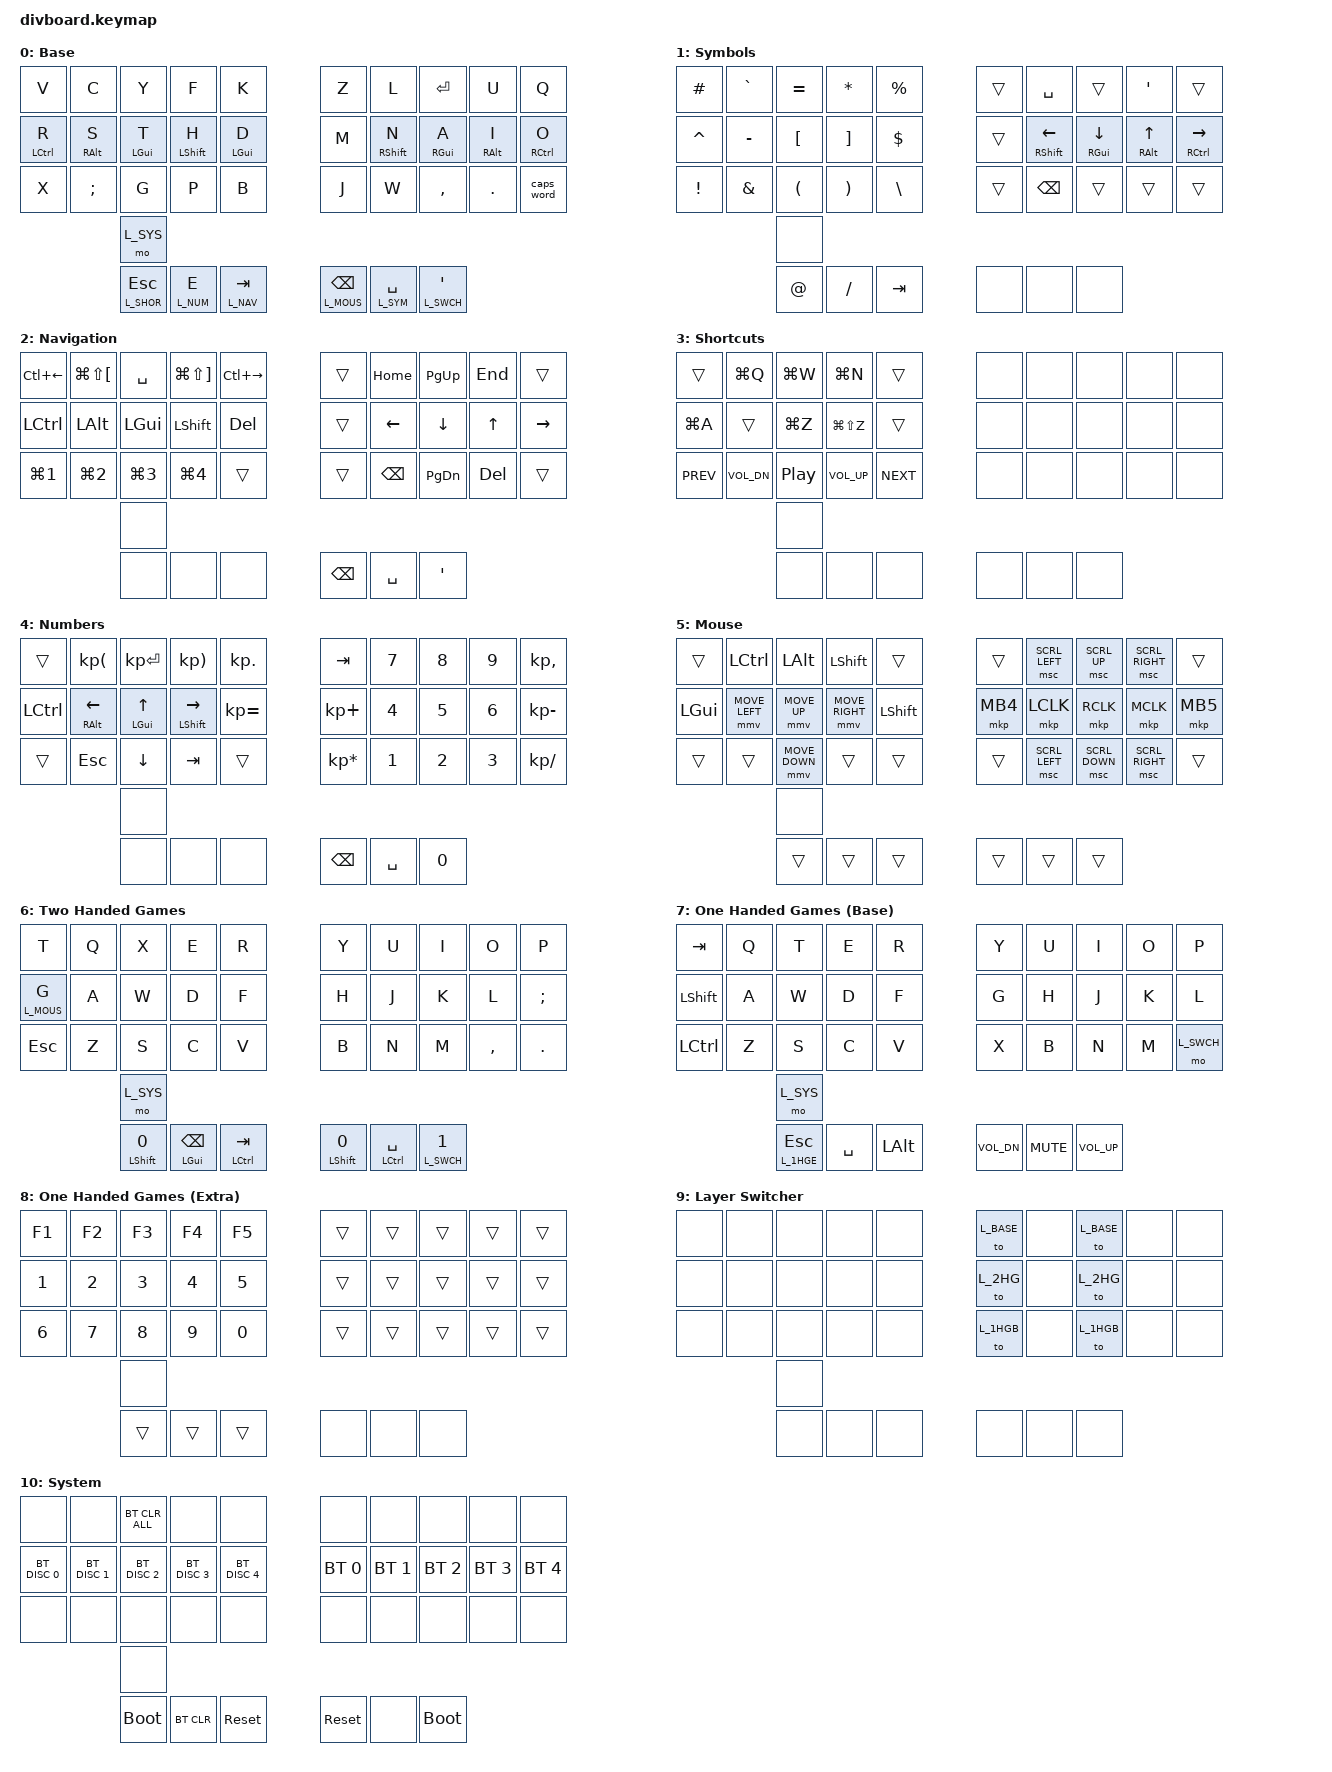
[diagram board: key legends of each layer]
#include <behaviors.dtsi>
#include <dt-bindings/zmk/keys.h>
#include <dt-bindings/zmk/bt.h>
#include <dt-bindings/zmk/outputs.h>
#include <dt-bindings/zmk/pointing.h>

#define L_BASE 0
#define L_SYM 1
#define L_NAV 2
#define L_SHOR 3
#define L_NUM 4
#define L_MOUS 5
#define L_2HG 6
#define L_1HGB 7
#define L_1HGE 8
#define L_SWCH 9
#define L_SYS 10


/ {
    behaviors {
        // Homerow Mods' configuration values correspond to Sunaku's custom preset.
        // Taken from: https://docs.google.com/spreadsheets/d/1ESgObQelyz4lnKlfwLYsmofLJulOMK5RdGBsopLe2o8/edit?gid=447112099#gid=447112099

        hmlp: home_row_mods_left_pinky {
            compatible = "zmk,behavior-hold-tap";
            #binding-cells = <2>;
            bindings = <&kp>, <&kp>;
            hold-trigger-on-release;
            flavor = "tap-preferred";
            tapping-term-ms = <280>;
            quick-tap-ms = <300>;
            require-prior-idle-ms = <150>;
            hold-trigger-key-positions = <
                5  6  7  8  9
                15 16 17 18 19
                25 26 27 28 29

                34 35 36
            >;
        };

        hmrp: home_row_mods_right_pinky {
            compatible = "zmk,behavior-hold-tap";
            #binding-cells = <2>;
            bindings = <&kp>, <&kp>;
            hold-trigger-on-release;
            flavor = "tap-preferred";
            tapping-term-ms = <280>;
            quick-tap-ms = <300>;
            require-prior-idle-ms = <150>;
            hold-trigger-key-positions = <
                0  1  2  3  4
                10 11 12 13 14
                20 21 22 23 24
                      
                      31 32 33
            >;
        };

        hmlr: home_row_mods_left_ring {
            compatible = "zmk,behavior-hold-tap";
            #binding-cells = <2>;
            bindings = <&kp>, <&kp>;
            hold-trigger-on-release;
            flavor = "tap-preferred";
            tapping-term-ms = <240>;
            quick-tap-ms = <300>;
            require-prior-idle-ms = <150>;
            hold-trigger-key-positions = <
                5  6  7  8  9
                15 16 17 18 19
                25 26 27 28 29

                34 35 36
            >;
        };

        hmrr: home_row_mods_right_ring {
            compatible = "zmk,behavior-hold-tap";
            #binding-cells = <2>;
            bindings = <&kp>, <&kp>;
            hold-trigger-on-release;
            flavor = "tap-preferred";
            tapping-term-ms = <240>;
            quick-tap-ms = <300>;
            require-prior-idle-ms = <150>;
            hold-trigger-key-positions = <
                0  1  2  3  4
                10 11 12 13 14
                20 21 22 23 24
                      
                      31 32 33
            >;
        };

        hmlm: home_row_mods_left_middle {
            compatible = "zmk,behavior-hold-tap";
            #binding-cells = <2>;
            bindings = <&kp>, <&kp>;
            hold-trigger-on-release;
            flavor = "tap-preferred";
            tapping-term-ms = <210>;
            quick-tap-ms = <300>;
            require-prior-idle-ms = <150>;
            hold-trigger-key-positions = <
                5  6  7  8  9
                15 16 17 18 19
                25 26 27 28 29

                34 35 36
            >;
        };

        hmrm: home_row_mods_right_middle {
            compatible = "zmk,behavior-hold-tap";
            #binding-cells = <2>;
            bindings = <&kp>, <&kp>;
            hold-trigger-on-release;
            flavor = "tap-preferred";
            tapping-term-ms = <210>;
            quick-tap-ms = <300>;
            require-prior-idle-ms = <150>;
            hold-trigger-key-positions = <
                0  1  2  3  4
                10 11 12 13 14
                20 21 22 23 24
                      
                      31 32 33
            >;
        };

        hmli: home_row_mods_left_index {
            compatible = "zmk,behavior-hold-tap";
            #binding-cells = <2>;
            bindings = <&kp>, <&kp>;
            hold-trigger-on-release;
            flavor = "tap-preferred";
            tapping-term-ms = <190>;
            quick-tap-ms = <300>;
            require-prior-idle-ms = <100>;
            hold-trigger-key-positions = <
                5  6  7  8  9
                15 16 17 18 19
                25 26 27 28 29

                34 35 36
            >;
        };

        hmri: home_row_mods_right_index {
            compatible = "zmk,behavior-hold-tap";
            #binding-cells = <2>;
            bindings = <&kp>, <&kp>;
            hold-trigger-on-release;
            flavor = "tap-preferred";
            tapping-term-ms = <190>;
            quick-tap-ms = <300>;
            require-prior-idle-ms = <100>;
            hold-trigger-key-positions = <
                0  1  2  3  4
                10 11 12 13 14
                20 21 22 23 24
                      
                      31 32 33
            >;
        };

        tl: layer_tap_left_thumb {
            compatible = "zmk,behavior-hold-tap";
            #binding-cells = <2>;
            bindings = <&mo>, <&kp>;
            flavor = "balanced";
            tapping-term-ms = <200>;
            quick-tap-ms = <150>;
            require-prior-idle-ms = <100>;
            retro-tap;
        };

        tr: layer_tap_right_thumb {
            compatible = "zmk,behavior-hold-tap";
            #binding-cells = <2>;
            bindings = <&mo>, <&kp>;
            flavor = "balanced";
            tapping-term-ms = <200>;
            quick-tap-ms = <150>;
            require-prior-idle-ms = <100>;
            retro-tap;
            hold-trigger-key-positions = <
                0  1  2  3  4         
                10 11 12 13 14     15 16 17 18 19
                20 21 22 23 24           
                      
                      31 32 33
            >;
        };
    };

    keymap {
        compatible = "zmk,keymap";

        default_layer {
            display-name = "Base";
            bindings = <
                &kp V            &kp C            &kp Y            &kp F            &kp K                               &kp Z            &kp L            &kp ENTER        &kp U            &kp Q
                &hmlp LCTRL R    &hmlr RALT S     &hmlm LGUI T     &hmli LSHIFT H   &hmli LGUI D                        &kp M            &hmri RSHIFT N   &hmrm RGUI A     &hmrr RALT I     &hmrp RCTRL O
                &kp X            &kp SEMICOLON    &kp G            &kp P            &kp B                               &kp J            &kp W            &kp COMMA        &kp DOT          &caps_word
                                                  &mo L_SYS
                                                  &tl L_SHOR ESC   &tl L_NUM E      &tl L_NAV TAB                       &tr L_MOUS BSPC  &tr L_SYM SPACE  &tr L_SWCH APOSTROPHE
            >;
        };

        symbols_layer {
            display-name = "Symbols";
            bindings = <
                &kp HASH         &kp GRAVE        &kp EQUAL        &kp ASTERISK     &kp PERCENT                         &trans           &kp SPACE        &trans           &kp APOSTROPHE   &trans
                &kp CARET        &kp MINUS        &kp LBKT         &kp RBKT         &kp DOLLAR                          &trans           &hmri RSHFT LEFT &hmrm RGUI DOWN  &hmrr RALT UP    &hmrp RCTRL RIGHT
                &kp EXCLAMATION  &kp AMPERSAND    &kp LPAR         &kp RPAR         &kp BACKSLASH                       &trans           &kp BACKSPACE    &trans           &trans           &trans
                                                  &none
                                                  &kp AT_SIGN      &kp SLASH        &kp TAB                             &none            &none            &none 
            >;
        };

        navigation_layer {
            display-name = "Navigation";
            bindings = <
                &kp LC(LEFT)     &kp LG(LS(LBKT)) &kp SPACE        &kp LG(LS(RBKT)) &kp LC(RIGHT)                       &trans           &kp HOME         &kp PAGE_UP      &kp END          &trans
                &kp LCTRL        &kp LALT         &kp LGUI         &kp LSHIFT       &kp DELETE                          &trans           &kp LEFT         &kp DOWN         &kp UP           &kp RIGHT
                &kp LG(N1)       &kp LG(N2)       &kp LG(N3)       &kp LG(N4)       &trans                              &trans           &kp BACKSPACE    &kp PAGE_DOWN    &kp DELETE       &trans
                                                  &none
                                                  &none            &none            &none                               &kp BACKSPACE    &kp SPACE        &kp APOSTROPHE
            >;
        };

        shortcuts_layer {
            display-name = "Shortcuts";
            bindings = <
                &trans           &kp LG(Q)        &kp LG(W)        &kp LG(N)        &trans                              &none            &none            &none            &none            &none
                &kp LG(A)        &trans           &kp LG(Z)        &kp LG(LS(Z))    &trans                              &none            &none            &none            &none            &none 
                &kp C_PREV       &kp C_VOL_DN     &kp C_PLAY_PAUSE &kp C_VOL_UP     &kp C_NEXT                          &none            &none            &none            &none            &none 
                                                  &none
                                                  &none            &none            &none                               &none            &none            &none
            >;
        };

        numbers_layer {
            display-name = "Numbers";
            bindings = <
                &trans           &kp KP_LPAR      &kp KP_ENTER     &kp KP_RPAR      &kp KP_DOT                          &kp TAB          &kp N7           &kp N8           &kp N9           &kp KP_COMMA
                &kp LCTRL        &mt RALT LEFT    &mt LGUI UP      &mt LSHFT RIGHT  &kp KP_EQUAL                        &kp KP_PLUS      &kp N4           &kp N5           &kp N6           &kp KP_MINUS
                &trans           &kp ESC          &kp DOWN         &kp TAB          &trans                              &kp KP_MULTIPLY  &kp N1           &kp N2           &kp N3           &kp KP_DIVIDE
                                                  &none
                                                  &none            &none            &none                               &kp BACKSPACE    &kp SPACE        &kp N0
            >;
        };

        mouse_layer {
            display-name = "Mouse";
            bindings = <
                &trans           &kp LCTRL        &kp LALT         &kp LSHIFT       &trans                              &trans           &msc SCRL_LEFT   &msc SCRL_UP     &msc SCRL_RIGHT  &trans
                &kp LGUI         &mmv MOVE_LEFT   &mmv MOVE_UP     &mmv MOVE_RIGHT  &kp LSHIFT                          &mkp MB4         &mkp LCLK        &mkp RCLK        &mkp MCLK        &mkp MB5
                &trans           &trans           &mmv MOVE_DOWN   &trans           &trans                              &trans           &msc SCRL_LEFT   &msc SCRL_DOWN   &msc SCRL_RIGHT  &trans
                                                  &none
                                                  &trans           &trans           &trans                              &trans           &trans           &trans
            >;
        };

        two_handed_game_layer {
            display-name = "Two Handed Games";
            bindings = <
                &kp T            &kp Q            &kp X            &kp E            &kp R                               &kp Y            &kp U            &kp I            &kp O            &kp P
                &lt L_MOUS G     &kp A            &kp W            &kp D            &kp F                               &kp H            &kp J            &kp K            &kp L            &kp SEMICOLON
                &kp ESC          &kp Z            &kp S            &kp C            &kp V                               &kp B            &kp N            &kp M            &kp COMMA        &kp DOT
                                                  &mo L_SYS
                                                  &mt LSHIFT N0    &mt LGUI BSPC    &mt LCTRL TAB                       &mt LSHIFT N0    &mt LCTRL SPACE  &lt L_SWCH N1
            >;
        };

        one_handed_game_base_layer {
            display-name = "One Handed Games (Base)";
            bindings = <
                &kp TAB          &kp Q            &kp T            &kp E            &kp R                               &kp Y            &kp U            &kp I            &kp O            &kp P
                &kp LSHIFT       &kp A            &kp W            &kp D            &kp F                               &kp G            &kp H            &kp J            &kp K            &kp L
                &kp LCTRL        &kp Z            &kp S            &kp C            &kp V                               &kp X            &kp B            &kp N            &kp M            &mo L_SWCH
                                                  &mo L_SYS
                                                  &lt L_1HGE ESC   &kp SPACE        &kp LALT                            &kp C_VOL_DN     &kp C_MUTE       &kp C_VOL_UP
            >;
        };

        one_handed_game_extra_layer {
            display-name = "One Handed Games (Extra)";
            bindings = <
                &kp F1           &kp F2           &kp F3           &kp F4           &kp F5                              &trans           &trans           &trans           &trans           &trans
                &kp N1           &kp N2           &kp N3           &kp N4           &kp N5                              &trans           &trans           &trans           &trans           &trans
                &kp N6           &kp N7           &kp N8           &kp N9           &kp N0                              &trans           &trans           &trans           &trans           &trans
                                                  &none
                                                  &trans           &trans           &trans                              &none            &none            &none
            >;
        };

        switcher_layer {
            display-name = "Layer Switcher";
            bindings = <
                &none            &none            &none            &none            &none                               &to L_BASE       &none            &to L_BASE       &none            &none
                &none            &none            &none            &none            &none                               &to L_2HG        &none            &to L_2HG        &none            &none
                &none            &none            &none            &none            &none                               &to L_1HGB       &none            &to L_1HGB       &none            &none
                                                  &none
                                                  &none            &none            &none                               &none            &none            &none
            >;
        };

        system_layer {
            display-name = "System";
            bindings = <
                &none            &none            &bt BT_CLR_ALL   &none            &none                               &none            &none            &none            &none            &none
                &bt BT_DISC 0    &bt BT_DISC 1    &bt BT_DISC 2    &bt BT_DISC 3    &bt BT_DISC 4                       &bt BT_SEL 0     &bt BT_SEL 1     &bt BT_SEL 2     &bt BT_SEL 3     &bt BT_SEL 4
                &none            &none            &none            &none            &none                               &none            &none            &none            &none            &none
                                                  &none
                                                  &bootloader      &bt BT_CLR       &sys_reset                          &sys_reset       &none            &bootloader
            >;
        };
    };
};
